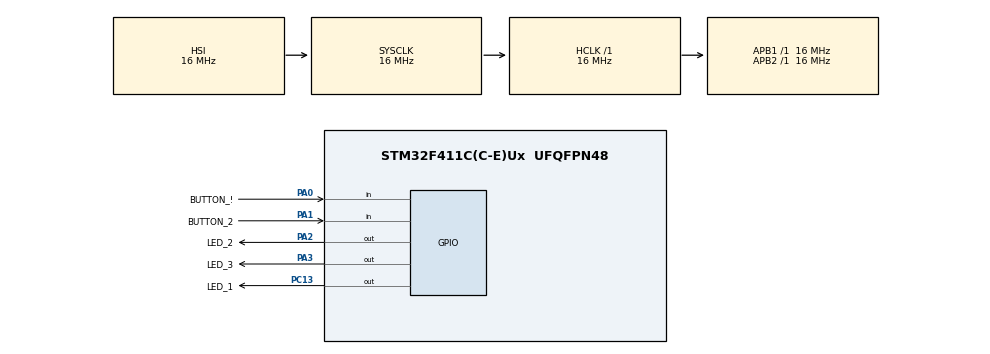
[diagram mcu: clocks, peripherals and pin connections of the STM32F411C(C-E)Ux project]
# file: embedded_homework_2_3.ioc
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Mcu.Family=STM32F4
Mcu.Name=STM32F411C(C-E)Ux
Mcu.Package=UFQFPN48
NVIC.PriorityGroup=NVIC_PRIORITYGROUP_4
PA0-WKUP.GPIO_Label=BUTTON_\!
PA0-WKUP.GPIO_PuPd=GPIO_PULLUP
PA0-WKUP.Signal=GPIO_Input
PA1.GPIO_Label=BUTTON_2
PA1.GPIO_PuPd=GPIO_PULLUP
PA1.Signal=GPIO_Input
PA13.Mode=Serial_Wire
PA13.Signal=SYS_JTMS-SWDIO
PA14.Mode=Serial_Wire
PA14.Signal=SYS_JTCK-SWCLK
PA2.GPIO_Label=LED_2
PA2.Signal=GPIO_Output
PA3.GPIO_Label=LED_3
PA3.Signal=GPIO_Output
PC13-ANTI_TAMP.GPIO_Label=LED_1
PC13-ANTI_TAMP.Signal=GPIO_Output
ProjectManager.HeapSize=0x200
ProjectManager.StackSize=0x400
ProjectManager.TargetToolchain=STM32CubeIDE
RCC.AHBFreq_Value=16000000
RCC.APB1Freq_Value=16000000
RCC.APB2Freq_Value=16000000
RCC.CortexFreq_Value=16000000
RCC.HSE_VALUE=25000000
RCC.HSI_VALUE=16000000
RCC.LSE_VALUE=32768
RCC.SYSCLKFreq_VALUE=16000000
RCC.VCOOutputFreq_Value=192000000
board=custom

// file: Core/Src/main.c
/* USER CODE BEGIN Header */
/**
  ******************************************************************************
  * @file           : main.c
  * @brief          : Main program body
  ******************************************************************************
  * @attention
  *
  * Copyright (c) 2026 STMicroelectronics.
  * All rights reserved.
  *
  * This software is licensed under terms that can be found in the LICENSE file
  * in the root directory of this software component.
  * If no LICENSE file comes with this software, it is provided AS-IS.
  *
  ******************************************************************************
  */
/* USER CODE END Header */
#include "main.h"

/* USER CODE BEGIN Includes */
#include <stdbool.h>
/* USER CODE END Includes */

/* USER CODE BEGIN PD */
#define LED_COUNT 3
#define DEBOUNCE_MS 20
/* USER CODE END PD */

void SystemClock_Config(void);
static void MX_GPIO_Init(void);

/* USER CODE BEGIN 0 */
typedef struct
{
	GPIO_TypeDef * port;
	uint16_t pin;
	uint16_t half_period;
	uint32_t last_change_timestamp;
} LED_type_t;

typedef struct
{
	GPIO_TypeDef * port;
	uint16_t pin;
	GPIO_PinState last_read;
	GPIO_PinState stable_state;
	uint32_t last_change_timestamp;
} BUTTON_type_t;

LED_type_t LEDS[LED_COUNT] = {
	[0] = {.pin = LED_1_Pin, .port = LED_1_GPIO_Port, .half_period = 100, .last_change_timestamp = 0u},
	[1] = {.pin = LED_2_Pin, .port = LED_2_GPIO_Port, .half_period = 250, .last_change_timestamp = 0u},
	[2] = {.pin = LED_3_Pin, .port = LED_3_GPIO_Port, .half_period = 500, .last_change_timestamp = 0u}
};

BUTTON_type_t PAUSE_BUTTON = {
	.port = BUTTON___GPIO_Port,
	.pin = BUTTON___Pin,
    .last_read = GPIO_PIN_SET,
	.stable_state = GPIO_PIN_SET
};

BUTTON_type_t SPEED_BUTTON = {
	.port = BUTTON_2_GPIO_Port,
	.pin = BUTTON_2_Pin,
    .last_read = GPIO_PIN_SET,
	.stable_state = GPIO_PIN_SET
};

const uint16_t SPEED_HALF_PERIODS[] = {500, 250, 100};
uint8_t speed_index = 0;
bool paused = false;

bool button_pressed(BUTTON_type_t * button, uint32_t now)
{
	GPIO_PinState read = HAL_GPIO_ReadPin(button->port, button->pin);

	if (read != button->last_read)
	{
		button->last_read = read;
		button->last_change_timestamp = now;
		return false;
	}

	if (read != button->stable_state && (uint32_t)(now - button->last_change_timestamp) >= DEBOUNCE_MS)
	{
		button->stable_state = read;
		return read == GPIO_PIN_RESET;
	}

	return false;
}

void update_leds(uint32_t now)
{
	for (uint8_t led_index = 0; led_index < LED_COUNT; led_index++)
	{
		LED_type_t * led = &LEDS[led_index];
		if ((uint32_t)(now - led->last_change_timestamp) >= led->half_period)
		{
			HAL_GPIO_TogglePin(led->port, led->pin);
			led->last_change_timestamp = now;
		}
	}
}

void restart_leds(uint32_t now)
{
	for (uint8_t led_index = 0; led_index < LED_COUNT; led_index++)
	{
		LEDS[led_index].last_change_timestamp = now;
	}
}

void turn_off_leds(void)
{
	HAL_GPIO_WritePin(LED_1_GPIO_Port, LED_1_Pin, GPIO_PIN_SET);
	HAL_GPIO_WritePin(LED_2_GPIO_Port, LED_2_Pin, GPIO_PIN_RESET);
	HAL_GPIO_WritePin(LED_3_GPIO_Port, LED_3_Pin, GPIO_PIN_RESET);
}
/* USER CODE END 0 */

int main(void)
{

  /* MCU Configuration--------------------------------------------------------*/

  /* Reset of all peripherals, Initializes the Flash interface and the Systick. */
  HAL_Init();

  /* Configure the system clock */
  SystemClock_Config();

  /* Initialize all configured peripherals */
  MX_GPIO_Init();

  /* Infinite loop */
  /* USER CODE BEGIN WHILE */
  uint32_t last_tick = HAL_GetTick();

  while (1)
  {
	  uint32_t now = HAL_GetTick();

	  if (now == last_tick)
	  {
		  continue;
	  }
	  last_tick = now;

	  if (button_pressed(&PAUSE_BUTTON, now))
	  {
		  paused = !paused;
		  if (paused)
		  {
			  turn_off_leds();
		  }
		  else
		  {
			  restart_leds(now);
		  }
	  }

	  if (button_pressed(&SPEED_BUTTON, now))
	  {
		  speed_index = (speed_index + 1) % 3;
		  LEDS[2].half_period = SPEED_HALF_PERIODS[speed_index];
	  }

	  if (!paused)
	  {
		  update_leds(now);
	  }
    /* USER CODE END WHILE */

  }
}

void SystemClock_Config(void)
{
  RCC_OscInitTypeDef RCC_OscInitStruct = {0};
  RCC_ClkInitTypeDef RCC_ClkInitStruct = {0};

  /** Configure the main internal regulator output voltage
  */
  __HAL_RCC_PWR_CLK_ENABLE();
  __HAL_PWR_VOLTAGESCALING_CONFIG(PWR_REGULATOR_VOLTAGE_SCALE1);

  /** Initializes the RCC Oscillators according to the specified parameters
  * in the RCC_OscInitTypeDef structure.
  */
  RCC_OscInitStruct.OscillatorType = RCC_OSCILLATORTYPE_HSI;
  RCC_OscInitStruct.HSIState = RCC_HSI_ON;
  RCC_OscInitStruct.HSICalibrationValue = RCC_HSICALIBRATION_DEFAULT;
  RCC_OscInitStruct.PLL.PLLState = RCC_PLL_NONE;
  if (HAL_RCC_OscConfig(&RCC_OscInitStruct) != HAL_OK)
  {
    Error_Handler();
  }

  /** Initializes the CPU, AHB and APB buses clocks
  */
  RCC_ClkInitStruct.ClockType = RCC_CLOCKTYPE_HCLK|RCC_CLOCKTYPE_SYSCLK
                              |RCC_CLOCKTYPE_PCLK1|RCC_CLOCKTYPE_PCLK2;
  RCC_ClkInitStruct.SYSCLKSource = RCC_SYSCLKSOURCE_HSI;
  RCC_ClkInitStruct.AHBCLKDivider = RCC_SYSCLK_DIV1;
  RCC_ClkInitStruct.APB1CLKDivider = RCC_HCLK_DIV1;
  RCC_ClkInitStruct.APB2CLKDivider = RCC_HCLK_DIV1;

  if (HAL_RCC_ClockConfig(&RCC_ClkInitStruct, FLASH_LATENCY_0) != HAL_OK)
  {
    Error_Handler();
  }
}

static void MX_GPIO_Init(void)
{
  GPIO_InitTypeDef GPIO_InitStruct = {0};

  /* GPIO Ports Clock Enable */
  __HAL_RCC_GPIOC_CLK_ENABLE();
  __HAL_RCC_GPIOA_CLK_ENABLE();

  /*Configure GPIO pin Output Level */
  HAL_GPIO_WritePin(LED_1_GPIO_Port, LED_1_Pin, GPIO_PIN_RESET);

  /*Configure GPIO pin Output Level */
  HAL_GPIO_WritePin(GPIOA, LED_2_Pin|LED_3_Pin, GPIO_PIN_RESET);

  /*Configure GPIO pin : LED_1_Pin */
  GPIO_InitStruct.Pin = LED_1_Pin;
  GPIO_InitStruct.Mode = GPIO_MODE_OUTPUT_PP;
  GPIO_InitStruct.Pull = GPIO_NOPULL;
  GPIO_InitStruct.Speed = GPIO_SPEED_FREQ_LOW;
  HAL_GPIO_Init(LED_1_GPIO_Port, &GPIO_InitStruct);

  /*Configure GPIO pins : BUTTON___Pin BUTTON_2_Pin */
  GPIO_InitStruct.Pin = BUTTON___Pin|BUTTON_2_Pin;
  GPIO_InitStruct.Mode = GPIO_MODE_INPUT;
  GPIO_InitStruct.Pull = GPIO_PULLUP;
  HAL_GPIO_Init(GPIOA, &GPIO_InitStruct);

  /*Configure GPIO pins : LED_2_Pin LED_3_Pin */
  GPIO_InitStruct.Pin = LED_2_Pin|LED_3_Pin;
  GPIO_InitStruct.Mode = GPIO_MODE_OUTPUT_PP;
  GPIO_InitStruct.Pull = GPIO_NOPULL;
  GPIO_InitStruct.Speed = GPIO_SPEED_FREQ_LOW;
  HAL_GPIO_Init(GPIOA, &GPIO_InitStruct);

}

void Error_Handler(void)
{
  __disable_irq();
  while (1)
  {
  }
}
